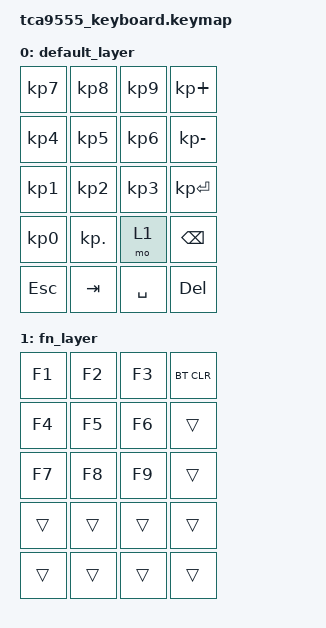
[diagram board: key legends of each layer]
#include <behaviors.dtsi>
#include <dt-bindings/zmk/keys.h>
#include <dt-bindings/zmk/bt.h>

/ {
    keymap {
        compatible = "zmk,keymap";

        default_layer {
            bindings = <
                &kp KP_N7 &kp KP_N8 &kp KP_N9 &kp KP_PLUS
                &kp KP_N4 &kp KP_N5 &kp KP_N6 &kp KP_MINUS
                &kp KP_N1 &kp KP_N2 &kp KP_N3 &kp KP_ENTER
                &kp KP_N0 &kp KP_DOT &mo 1 &kp BSPC
                &kp ESC   &kp TAB   &kp SPACE &kp DEL
            >;
        };

        fn_layer {
            bindings = <
                &kp F1 &kp F2 &kp F3 &bt BT_CLR
                &kp F4 &kp F5 &kp F6 &trans
                &kp F7 &kp F8 &kp F9 &trans
                &trans &trans &trans &trans
                &trans &trans &trans &trans
            >;
        };
    };
};
